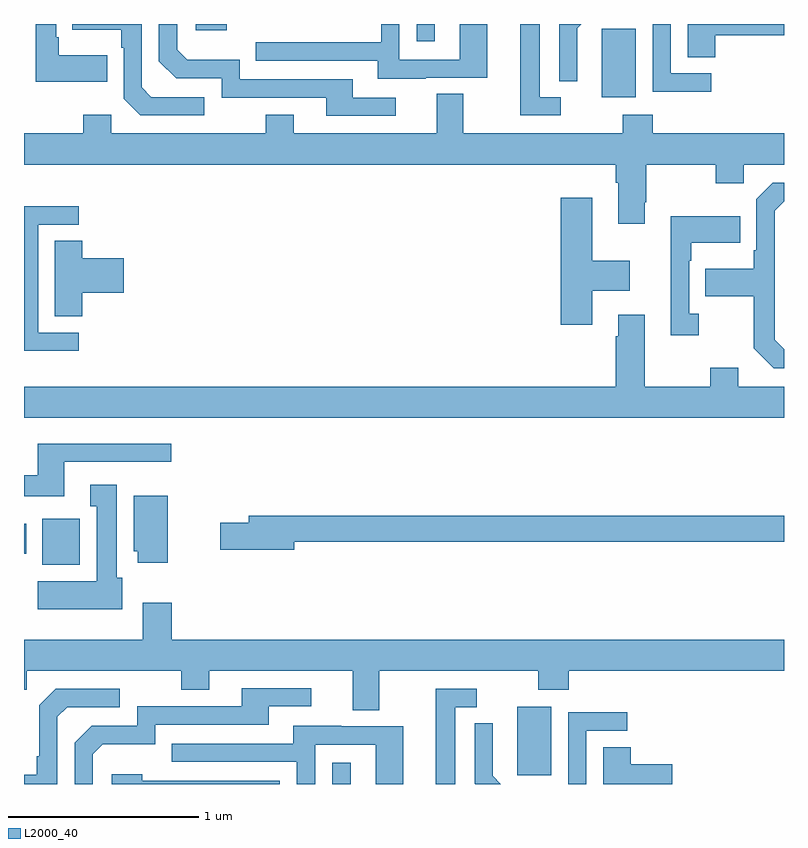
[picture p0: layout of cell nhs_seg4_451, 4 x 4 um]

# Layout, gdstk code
import gdstk
lib = gdstk.Library(unit=1e-6, precision=1e-09)
def R(c, l, rs):  # rectangles x0, y0, x1, y1
    for r in rs: c.add(gdstk.rectangle(r[:2], r[2:], *l))
def P(c, l, *ps):  # polygons
    for p in ps: c.add(gdstk.Polygon(p, *l))
L2000_40 = (2000, 40)

nhs_seg4_451 = lib.new_cell('nhs_seg4_451')
R(nhs_seg4_451, L2000_40, [(134.622,786.9,134.719,787.012), (135.596,786.945,135.775,787.306), (133.097,788.054,133.294,788.296), (133,788.113,133.012,788.269), (136.04,790.514,136.219,790.875), (135.066,790.809,135.163,790.9), (133.905,790.868,134.066,790.9)])
P(nhs_seg4_451, L2000_40, [(135.826,790.515),(135.715,790.515),(135.715,790.9),(135.611,790.9),(135.611,790.419),(135.826,790.419)],
  [(135.912,790.754),(135.911,790.754),(135.911,790.877),(135.934,790.9),(135.816,790.9),(135.816,790.6),(135.912,790.6)],
  [(136.618,790.641),(136.404,790.641),(136.404,790.9),(136.308,790.9),(136.308,790.543),(136.618,790.543)],
  [(134.956,790.512),(134.731,790.512),(134.731,790.608),(134.136,790.608),(134.136,790.711),(133.859,790.711),(133.806,790.764),(133.806,790.9),(133.71,790.9),(133.71,790.704),(133.8,790.614),(134.04,790.614),(134.04,790.512),(134.591,790.512),(134.591,790.416),(134.956,790.416)],
  [(135.115,790.617),(135.439,790.617),(135.439,790.9),(135.294,790.9),(135.294,790.713),(134.976,790.713),(134.976,790.9),(134.88,790.9),(134.88,790.803),(134.221,790.803),(134.221,790.707),(134.861,790.707),(134.861,790.613),(135.115,790.613)],
  [(136.637,790.84),(137,790.84),(137,790.9),(136.493,790.9),(136.493,790.726),(136.637,790.726)],
  [(133.439,790.735),(133.183,790.735),(133.183,790.831),(133.17,790.831),(133.17,790.9),(133.062,790.9),(133.062,790.595),(133.439,790.595)],
  [(133.948,790.515),(133.671,790.515),(133.62,790.566),(133.62,790.9),(133.255,790.9),(133.255,790.871),(133.512,790.871),(133.512,790.775),(133.524,790.775),(133.524,790.506),(133.611,790.419),(133.948,790.419)],
  [(136.267,789.961),(136.275,789.961),(136.275,790.16),(136.642,790.16),(136.642,790.061),(136.788,790.061),(136.788,790.16),(137,790.16),(137,790.324),(136.31,790.324),(136.31,790.423),(136.15,790.423),(136.15,790.324),(135.313,790.324),(135.313,790.532),(135.173,790.532),(135.173,790.324),(134.419,790.324),(134.419,790.423),(134.272,790.423),(134.272,790.324),(133.458,790.324),(133.458,790.423),(133.312,790.423),(133.312,790.324),(133,790.324),(133,790.16),(136.115,790.16),(136.115,790.064),(136.127,790.064),(136.127,789.849),(136.267,789.849)],
  [(137,789.187),(136.95,789.237),(136.95,789.918),(137,789.968),(137,790.065),(136.941,790.065),(136.854,789.978),(136.854,789.709),(136.842,789.709),(136.842,789.613),(136.585,789.613),(136.585,789.466),(136.842,789.466),(136.842,789.193),(136.947,789.087),(137,789.087)],
  [(135.991,789.497),(136.189,789.497),(136.189,789.655),(135.991,789.655),(135.991,789.985),(135.824,789.985),(135.824,789.318),(135.991,789.318)],
  [(133.288,789.276),(133.074,789.276),(133.074,789.843),(133.288,789.843),(133.288,789.942),(133,789.942),(133,789.18),(133.288,789.18)],
  [(136.552,789.374),(136.5,789.374),(136.5,789.653),(136.513,789.653),(136.513,789.749),(136.769,789.749),(136.769,789.889),(136.403,789.889),(136.403,789.261),(136.552,789.261)],
  [(133.307,789.485),(133.525,789.485),(133.525,789.668),(133.307,789.668),(133.307,789.758),(133.163,789.758),(133.163,789.361),(133.307,789.361)],
  [(137,788.992),(136.759,788.992),(136.759,789.091),(136.612,789.091),(136.612,788.992),(136.267,788.992),(136.267,789.37),(136.127,789.37),(136.127,789.257),(136.115,789.257),(136.115,788.992),(133,788.992),(133,788.828),(137,788.828)],
  [(133.213,788.595),(133.774,788.595),(133.774,788.692),(133.073,788.692),(133.073,788.524),(133,788.524),(133,788.414),(133.213,788.414)],
  [(133.516,787.986),(133.489,787.986),(133.489,788.476),(133.349,788.476),(133.349,788.363),(133.382,788.363),(133.382,787.966),(133.073,787.966),(133.073,787.82),(133.516,787.82)],
  [(133.756,788.416),(133.577,788.416),(133.577,788.124),(133.598,788.124),(133.598,788.064),(133.756,788.064)],
  [(134.422,788.176),(137,788.176),(137,788.312),(134.183,788.312),(134.183,788.276),(134.034,788.276),(134.034,788.134),(134.422,788.134)],
  [(134.869,787.496),(135.706,787.496),(135.706,787.397),(135.866,787.397),(135.866,787.496),(137,787.496),(137,787.66),(133.778,787.66),(133.778,787.855),(133.625,787.855),(133.625,787.66),(133,787.66),(133,787.397),(133.014,787.397),(133.014,787.496),(133.828,787.496),(133.828,787.397),(133.975,787.397),(133.975,787.496),(134.729,787.496),(134.729,787.288),(134.869,787.288)],
  [(133.362,787.056),(133.415,787.109),(133.692,787.109),(133.692,787.212),(134.287,787.212),(134.287,787.308),(134.512,787.308),(134.512,787.404),(134.147,787.404),(134.147,787.308),(133.596,787.308),(133.596,787.206),(133.356,787.206),(133.266,787.116),(133.266,786.9),(133.362,786.9)],
  [(133.176,787.254),(133.227,787.305),(133.504,787.305),(133.504,787.401),(133.167,787.401),(133.08,787.314),(133.08,787.045),(133.068,787.045),(133.068,786.949),(133,786.949),(133,786.9),(133.176,786.9)],
  [(135.271,787.305),(135.382,787.305),(135.382,787.401),(135.167,787.401),(135.167,786.9),(135.271,786.9)],
  [(135.96,787.179),(136.174,787.179),(136.174,787.278),(135.864,787.278),(135.864,786.9),(135.96,786.9)],
  [(135.467,786.944),(135.467,787.066),(135.468,787.066),(135.468,787.22),(135.372,787.22),(135.372,786.902),(135.374,786.9),(135.51,786.9)],
  [(134.532,787.107),(134.85,787.107),(134.85,786.9),(134.995,786.9),(134.995,787.203),(134.671,787.203),(134.671,787.207),(134.417,787.207),(134.417,787.113),(133.777,787.113),(133.777,787.017),(134.436,787.017),(134.436,786.9),(134.532,786.9)],
  [(136.411,787.004),(136.193,787.004),(136.193,787.094),(136.049,787.094),(136.049,786.9),(136.411,786.9)],
  [(134.346,786.918),(133.622,786.918),(133.622,786.952),(133.461,786.952),(133.461,786.9),(134.346,786.9)])

lib.write_gds('nhs_seg4_451.gds')
